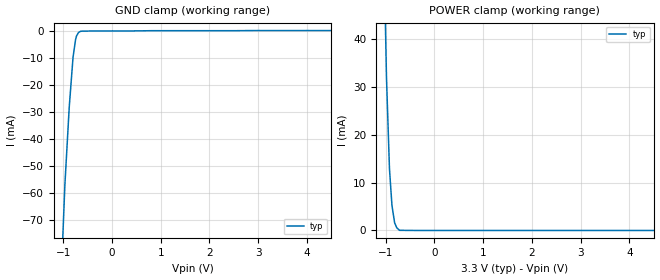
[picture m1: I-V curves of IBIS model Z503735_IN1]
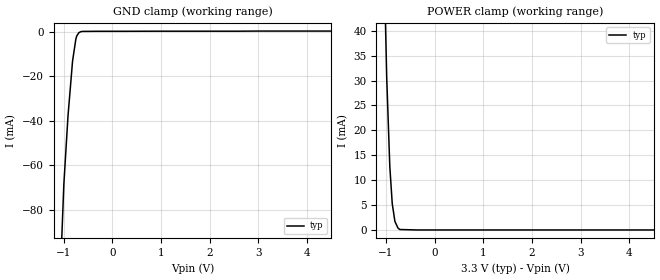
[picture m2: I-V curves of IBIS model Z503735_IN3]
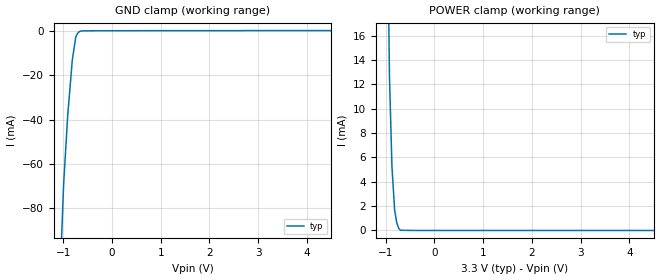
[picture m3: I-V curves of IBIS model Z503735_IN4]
| YOU ARE ONLY AUTHORIZED TO USE THIS SOFTWARE
| ACCORDING TO LICENSOR'S LICENSE RESTRICTIONS.
[IBIS Ver] 3.1
[File Name] mc74ac151n_33.ibs
[File Rev] 2.0
[Source] Measured and created by ICX Technology
[Date] Friday 7/14/00 9:07:58 AM
[Copyright]
| (C) COPYRIGHT 1993-2000
| MENTOR GRAPHICS CORPORATION
| ICX STANDARD LIBRARY, ICX PROJECT MODELING,
| ICX CUSTOM MODELING, ICX VENDOR MODEL
| ALL RIGHTS RESERVED.
| THE FOLLOWING ARE TRADEMARKS OR SERVICE MARKS OF
| MENTOR GRAPHICS CORPORATION:ICX (R), ICX STANDARD
| LIBRARY(R), ICX PROJECT MODELING(R), ICX CUSTOM
| MODELING(R), qualityIBIS(TM), MODELVIEWER(TM),
| AND MODELEDITOR(TM)
| ALL COPIES OF SOFTWARE, INCLUDING BUT NOT LIMITED TO
| ANY MODIFICATIONS, ENHANCEMENTS OR DERIVATIVE WORKS,
| MUST CONTAIN ALL MENTOR GRAPHICS CORPORATION'S
| NOTICES AND LEGENDS, INCLUDING THOSE EMBEDDED IN
| SOFTWARE AND THOSE AFFIXED TO SOFTWARE MEDIUM
| AND CONTAINER, AS RECEIVED FROM MENTOR GRAPHICS
| CORPORATION.
|  ZAP Model Builder 2.7
[Component] MC74AC151N_33
[Manufacturer] OnSemiconductor
[Package]
| variable   typ   min   max
R_pkg  .212ohms NA NA
L_pkg  4.758nH NA NA
C_pkg  1.143pF NA NA
[Pin] signal_name  model_name  R_pin  L_pin C_pin
1 D3 Z503735_IN1 .224 7.258n 1.578p
2 D2 Z503735_IN1 .216 5.258n 1.288p
3 D1 Z503735_IN1 .208 3.758n .998p
4 D0 Z503735_IN1 .2 2.758n .708p
5 Y Z503735_OUT2 .2 2.758n .708p
6 _Y Z503735_OUT2 .208 3.758n .998p
7 _G Z503735_IN3 .216 5.258n 1.288p
8 GND GND .224 7.258n 1.578p
9 C Z503735_IN4 .224 7.258n 1.578p
10 B Z503735_IN4 .216 5.258n 1.288p
11 A Z503735_IN4 .208 3.758n .998p
12 D7 Z503735_IN1 .2 2.758n .708p
13 D6 Z503735_IN1 .2 2.758n .708p
14 D5 Z503735_IN1 .208 3.758n .998p
15 D4 Z503735_IN1 .216 5.258n 1.288p
16 VCC POWER .224 7.258n 1.578p
| Models and submodels in the file (4): Z503735_IN1 (Input), Z503735_IN3 (Input), Z503735_IN4 (Input), Z503735_OUT2 (Output)
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| (C) COPYRIGHT 1993-2000
| MENTOR GRAPHICS CORPORATION
| ICX STANDARD LIBRARY, ICX PROJECT MODELING,
| ICX CUSTOM MODELING, ICX VENDOR MODEL
| ALL RIGHTS RESERVED.
| THE FOLLOWING ARE TRADEMARKS OR SERVICE MARKS OF
| MENTOR GRAPHICS CORPORATION:ICX (R), ICX STANDARD
| LIBRARY(R), ICX PROJECT MODELING(R), ICX CUSTOM
| MODELING(R), qualityIBIS(TM), MODELVIEWER(TM),
| AND MODELEDITOR(TM)
| ALL COPIES OF SOFTWARE, INCLUDING BUT NOT LIMITED TO
| ANY MODIFICATIONS, ENHANCEMENTS OR DERIVATIVE WORKS,
| MUST CONTAIN ALL MENTOR GRAPHICS CORPORATION'S
| NOTICES AND LEGENDS, INCLUDING THOSE EMBEDDED IN
| SOFTWARE AND THOSE AFFIXED TO SOFTWARE MEDIUM
| AND CONTAINER, AS RECEIVED FROM MENTOR GRAPHICS
| CORPORATION.
| Model Application Version 1.89 2/18/99.
[Model] Z503735_IN1
Model_type Input
Vinl = 990.0mV
Vinh = 2.310V
C_comp 4.000pF NA NA
| variable typ   min   max
[Voltage Range] 3.300V NA NA
[GND Clamp Reference] 0.000V NA NA
[POWER Clamp Reference] 3.300V NA NA
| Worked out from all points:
|   GND clamp passes 1 mA (typ) near -0.70 V on its own axis
|   POWER clamp passes 1 mA (typ) near -0.79 V on its own axis
[GND Clamp]
-3.3V     -2.048A    NA         NA
-1.019V   -80.6mA    NA         NA
-877.4mV  -28.13mA   NA         NA
-799.8mV  -9.747mA   NA         NA
-747.6mV  -3.101mA   NA         NA
-730mV    -1.826mA   NA         NA
-686.8mV  -457.1uA   NA         NA
-647.9mV  -35.72uA   NA         NA
6.6V      264.2uA    NA         NA
[POWER Clamp]
-3.3V     2.217A     NA         NA
-1.114V   114mA      NA         NA
-1.036V   57.98mA    NA         NA
-986mV    32.14mA    NA         NA
-924mV    12.87mA    NA         NA
-873mV    5.235mA    NA         NA
-818mV    1.583mA    NA         NA
-775mV    580.2uA    NA         NA
-718mV    32.3uA     NA         NA
-359mV    0A         NA         NA
6.6V      0A         NA         NA
| (C) COPYRIGHT 1993-2000
| MENTOR GRAPHICS CORPORATION
| ICX STANDARD LIBRARY, ICX PROJECT MODELING,
| ICX CUSTOM MODELING, ICX VENDOR MODEL
| ALL RIGHTS RESERVED.
| THE FOLLOWING ARE TRADEMARKS OR SERVICE MARKS OF
| MENTOR GRAPHICS CORPORATION:ICX (R), ICX STANDARD
| LIBRARY(R), ICX PROJECT MODELING(R), ICX CUSTOM
| MODELING(R), qualityIBIS(TM), MODELVIEWER(TM),
| AND MODELEDITOR(TM)
| ALL COPIES OF SOFTWARE, INCLUDING BUT NOT LIMITED TO
| ANY MODIFICATIONS, ENHANCEMENTS OR DERIVATIVE WORKS,
| MUST CONTAIN ALL MENTOR GRAPHICS CORPORATION'S
| NOTICES AND LEGENDS, INCLUDING THOSE EMBEDDED IN
| SOFTWARE AND THOSE AFFIXED TO SOFTWARE MEDIUM
| AND CONTAINER, AS RECEIVED FROM MENTOR GRAPHICS
| CORPORATION.
| Model Application Version 1.89 2/18/99.
[Model] Z503735_IN3
Model_type Input
Vinl = 990.0mV
Vinh = 2.310V
C_comp 4.000pF NA NA
| variable typ   min   max
[Voltage Range] 3.300V NA NA
[GND Clamp Reference] 0.000V NA NA
[POWER Clamp Reference] 3.300V NA NA
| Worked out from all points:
|   GND clamp passes 1 mA (typ) near -0.70 V on its own axis
|   POWER clamp passes 1 mA (typ) near -0.78 V on its own axis
[GND Clamp]
-3.3V     -2.42A     NA         NA
-1.045V   -97.58mA   NA         NA
-993.9mV  -68.62mA   NA         NA
-908.4mV  -37.85mA   NA         NA
-814.9mV  -13.24mA   NA         NA
-746.8mV  -3.34mA    NA         NA
-729.6mV  -2.019mA   NA         NA
-686.5mV  -563.9uA   NA         NA
-648.2mV  -70.43uA   NA         NA
6.6V      203.5uA    NA         NA
[POWER Clamp]
-3.3V     1.729A     NA         NA
-1.148V   120.1mA    NA         NA
-1.027V   48.02mA    NA         NA
-987mV    30.72mA    NA         NA
-923mV    12.76mA    NA         NA
-873mV    5.282mA    NA         NA
-818mV    1.715mA    NA         NA
-756mV    401.2uA    NA         NA
-718mV    92.2uA     NA         NA
-359mV    0A         NA         NA
6.6V      0A         NA         NA
| (C) COPYRIGHT 1993-2000
| MENTOR GRAPHICS CORPORATION
| ICX STANDARD LIBRARY, ICX PROJECT MODELING,
| ICX CUSTOM MODELING, ICX VENDOR MODEL
| ALL RIGHTS RESERVED.
| THE FOLLOWING ARE TRADEMARKS OR SERVICE MARKS OF
| MENTOR GRAPHICS CORPORATION:ICX (R), ICX STANDARD
| LIBRARY(R), ICX PROJECT MODELING(R), ICX CUSTOM
| MODELING(R), qualityIBIS(TM), MODELVIEWER(TM),
| AND MODELEDITOR(TM)
| ALL COPIES OF SOFTWARE, INCLUDING BUT NOT LIMITED TO
| ANY MODIFICATIONS, ENHANCEMENTS OR DERIVATIVE WORKS,
| MUST CONTAIN ALL MENTOR GRAPHICS CORPORATION'S
| NOTICES AND LEGENDS, INCLUDING THOSE EMBEDDED IN
| SOFTWARE AND THOSE AFFIXED TO SOFTWARE MEDIUM
| AND CONTAINER, AS RECEIVED FROM MENTOR GRAPHICS
| CORPORATION.
| Model Application Version 1.89 2/18/99.
[Model] Z503735_IN4
Model_type Input
Vinl = 990.0mV
Vinh = 2.310V
C_comp 4.000pF NA NA
| variable typ   min   max
[Voltage Range] 3.300V NA NA
[GND Clamp Reference] 0.000V NA NA
[POWER Clamp Reference] 3.300V NA NA
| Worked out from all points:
|   GND clamp passes 1 mA (typ) near -0.70 V on its own axis
|   POWER clamp passes 1 mA (typ) near -0.79 V on its own axis
[GND Clamp]
-3.3V     -2.397A    NA         NA
-1.044V   -98.53mA   NA         NA
-992.9mV  -69.24mA   NA         NA
-908.4mV  -37.96mA   NA         NA
-815.1mV  -13.17mA   NA         NA
-747.1mV  -3.248mA   NA         NA
-730.4mV  -1.941mA   NA         NA
-686.9mV  -532.4uA   NA         NA
-648.2mV  -69.1uA    NA         NA
6.6V      203.9uA    NA         NA
[POWER Clamp]
-3.3V     1.618A     NA         NA
-1.128V   101.6mA    NA         NA
-1.015V   41.28mA    NA         NA
-924mV    12.62mA    NA         NA
-873mV    5.232mA    NA         NA
-818mV    1.673mA    NA         NA
-775mV    641.5uA    NA         NA
-737mV    192.4uA    NA         NA
-698mV    14.4uA     NA         NA
-349mV    0A         NA         NA
6.6V      0A         NA         NA
